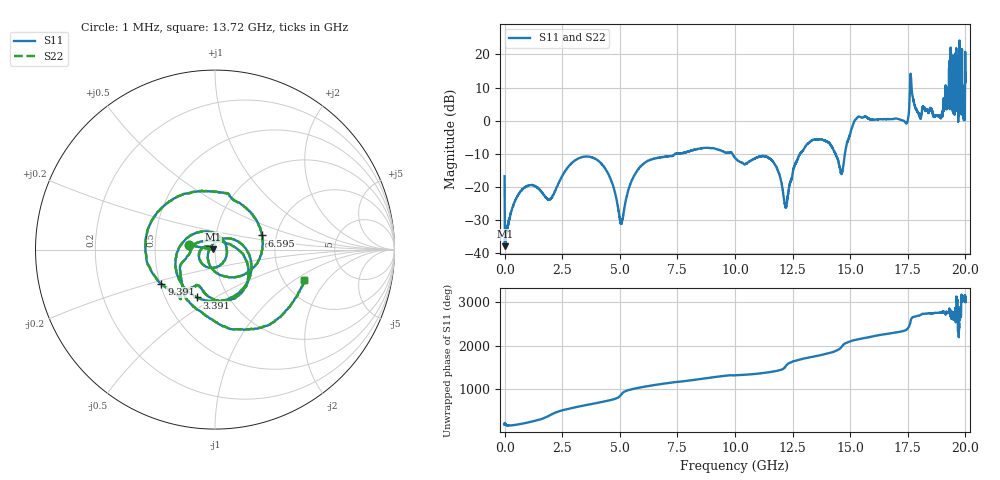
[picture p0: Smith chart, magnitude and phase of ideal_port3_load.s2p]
! Created with skrf (http://scikit-rf.org).
# GHz S RI R 50.0
!freq ReS11 ImS11 ReS21 ImS21 ReS12 ImS12 ReS22 ImS22
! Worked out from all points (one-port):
!   10001 points, 1 MHz to 20 GHz, reference 50 ohm
!   lowest |S11| = -37.8 dB at 13 MHz (marker M1), VSWR 1.03, Z = 48.8 + j0.255 ohm
!   |S11| at or under -10 dB: start of sweep to 7.399 GHz; 9.89 GHz to 12.82 GHz (2.935 GHz wide, 25.8 % of centre); 14.36 GHz to 14.77 GHz (409.3 MHz wide, 2.81 % of centre)
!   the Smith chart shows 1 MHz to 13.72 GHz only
!   S11 on the Smith chart (normalised r, x): 1 MHz: 0.75, +0.04; 3.391 GHz: 0.72, -0.42; 6.595 GHz: 1.68, +0.29; 9.391 GHz: 0.51, -0.22; 13.72 GHz: 2.59, -1.19
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0.001  -0.1431 0.0252  0 0  0 0  -0.1431 0.0252
0.0129994  -0.0126 0.00262  0 0  0 0  -0.0126 0.00262
3.334833  -0.1249 -0.2527  0 0  0 0  -0.1249 -0.2527
3.39083  -0.0995 -0.2664  0 0  0 0  -0.0995 -0.2664
5.064747  -0.0244 0.0143  0 0  0 0  -0.0244 0.0143
6.59467  0.2608 0.0789  0 0  0 0  0.2608 0.0789
6.668667  0.2538 0.108  0 0  0 0  0.2538 0.108
9.390531  -0.2983 -0.1906  0 0  0 0  -0.2983 -0.1906
10.0005  -0.1593 -0.226  0 0  0 0  -0.1593 -0.226
13.33433  0.2555 -0.4354  0 0  0 0  0.2555 -0.4354
13.72031  0.4982 -0.1667  0 0  0 0  0.4982 -0.1667
14.69627  -0.1598 -0.1299  0 0  0 0  -0.1598 -0.1299
15.57222  1.094 0.2658  0 0  0 0  1.094 0.2658
16.66817  -0.4801 0.9381  0 0  0 0  -0.4801 0.9381
17.50412  -0.4818 -0.9064  0 0  0 0  -0.4818 -0.9064
17.71011  -1.775 1.503  0 0  0 0  -1.775 1.503
18.17809  -1.247 -0.9787  0 0  0 0  -1.247 -0.9787
19.27404  -1.11 -2.502  0 0  0 0  -1.11 -2.502
19.45603  -4.864 0.3839  0 0  0 0  -4.864 0.3839
19.64202  -2.765 4.498  0 0  0 0  -2.765 4.498
19.89801  -1.719 0.6085  0 0  0 0  -1.719 0.6085
20  -2.888 3.381  0 0  0 0  -2.888 3.381
